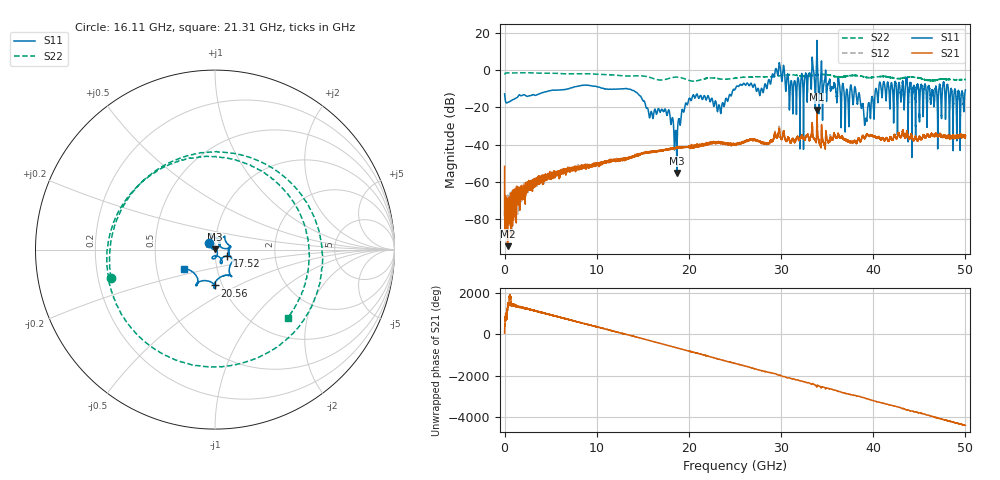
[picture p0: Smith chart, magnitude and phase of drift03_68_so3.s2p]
!Created with skrf (http://scikit-rf.org).
# Hz S RI R 50.0
!freq ReS11 ImS11 ReS21 ImS21 ReS12 ImS12 ReS22 ImS22
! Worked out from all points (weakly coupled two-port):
!   10001 points, 300 kHz to 50 GHz, reference 50 ohm
!   highest |S21| = -21.21 dB at 33.9 GHz (marker M1); lowest = -94.7 dB at 320.3 MHz (marker M2)
!   lowest |S11| = -55.3 dB at 18.69 GHz (marker M3), VSWR 1.00, Z = 50 + j0.167 ohm
!   |S11| at or under -10 dB: start of sweep to 6.941 GHz; 13.32 GHz to 25.04 GHz (11.73 GHz wide, 61.1 % of centre); 38.07 GHz to 40.26 GHz (2.185 GHz wide, 5.58 % of centre) (the widest 3 of 59)
!   |S22| runs from -5.9 to -1.3 dB; largest |S21 - S12| = 0.0086
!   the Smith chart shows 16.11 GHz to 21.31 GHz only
!   S11 on the Smith chart (normalised r, x): 16.11 GHz: 0.93, +0.07; 17.52 GHz: 1.14, -0.08; 20.56 GHz: 0.92, -0.38; 21.31 GHz: 0.69, -0.16
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300000  -0.2072 -0.1037  0.000976 0.00241  0.000815 0.000914  -0.7683 -0.1973
3.202981e8  -0.1024 0.0867  -1.03e-05 -1.53e-05  0.000116 0.000137  -0.6764 0.5101
1.535291e9  0.2046 0.0433  -0.000131 -0.000358  -0.000246 -0.000539  0.8488 0.0778
3.160281e9  -0.2186 -0.0083  0.000309 0.000744  -8.56e-05 0.000769  -0.844 -0.0246
4.665272e9  0.2639 0.0612  -2.06e-05 -0.00142  -0.000261 -0.00129  0.8188 0.1417
6.360262e9  -0.3003 0.000545  0.000618 0.00155  0.000474 0.00163  -0.8037 -0.0428
8.33525e9  0.2838 -0.2681  -0.00259 -0.00107  -0.00224 -0.000794  0.6017 -0.5359
1.043024e10  -0.043 0.3326  0.00218 -0.00192  0.00255 -0.00166  -0.0372 0.7695
1.201523e10  0.00708 -0.3081  -0.00252 0.00261  -0.00271 0.00253  0.1067 -0.7294
1.61102e10  -0.0328 0.0391  0.00611 0.00206  0.00605 0.00217  -0.579 -0.1571
1.66702e10  0.054 0.0749  0.00445 -0.00495  0.00469 -0.00488  -0.3606 0.4175
1.751519e10  0.0683 -0.0351  -0.00591 -0.00389  -0.00617 -0.00417  0.485 0.299
1.869019e10  -0.000417 0.00167  0.00229 0.00782  0.00226 0.00779  -0.0833 -0.647
2.055518e10  -0.000745 -0.1999  -0.00671 -0.00487  -0.00736 -0.00397  0.3588 0.3605
2.131017e10  -0.1721 -0.1086  -0.00469 0.00818  -0.00529 0.00799  0.4047 -0.3804
2.500015e10  -0.2976 -0.0474  0.00794 0.0065  0.00805 0.00637  -0.1845 -0.5801
3.051512e10  0.2383 -0.1278  -0.00213 0.0127  -0.00234 0.0124  0.7423 -0.0689
3.213011e10  0.2019 0.3755  -0.000411 -0.0148  -0.000665 -0.0153  -0.704 0.00881
3.33351e10  0.4935 -0.9725  -0.00644 0.024  -0.00611 0.0247  0.6171 0.3656
3.38951e10  -0.6743 -6.281  0.086 0.0135  0.0813 0.00748  0.6753 -0.3184
4.167005e10  -0.2224 0.2861  -0.0115 -0.00449  -0.0118 -0.00481  -0.649 -0.0551
5e10  -0.1547 -0.2511  0.00134 -0.0172  0.00165 -0.0164  0.4689 -0.3137
